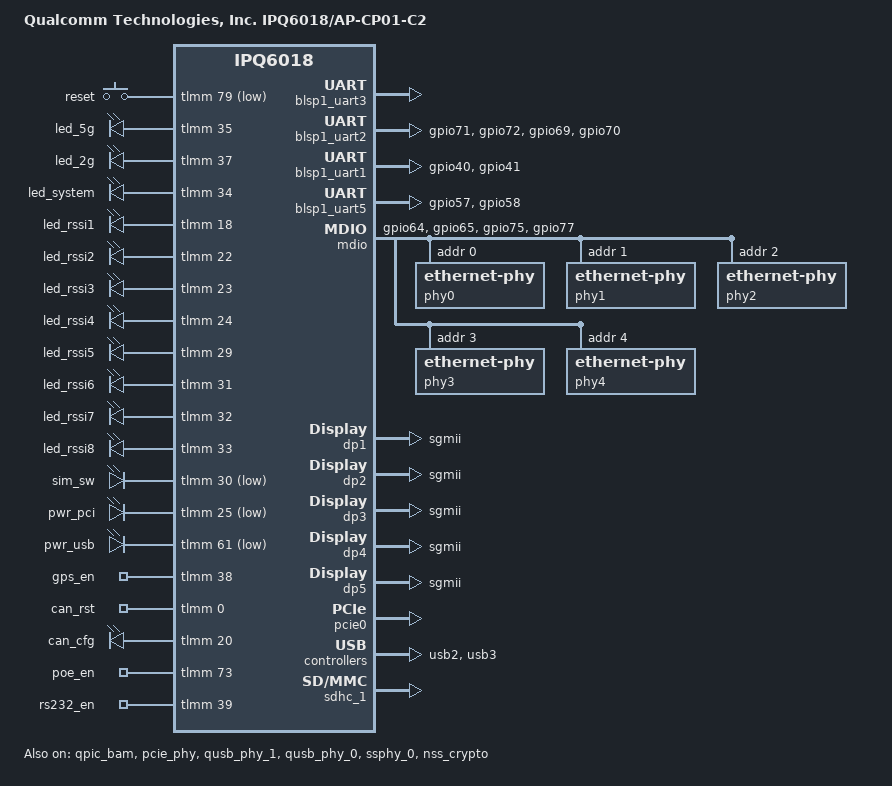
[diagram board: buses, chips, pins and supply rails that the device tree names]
// SPDX-License-Identifier: (GPL-2.0+ OR BSD-3-Clause)
/*
 * IPQ6018 CP01 board device tree source
 *
 * Copyright (c) 2019-2021 The Linux Foundation. All rights reserved.
 */

/dts-v1/;
#include "ipq6018.dtsi"
#include "ipq6018-cpr-regulator.dtsi"

/ {
	model = "Qualcomm Technologies, Inc. IPQ6018/AP-CP01-C2";
	compatible = "qcom,ipq6018-ap-cp01-c2",  "qcom,ipq6018";

	aliases {
		serial0 = &blsp1_uart3;
		serial1 = &blsp1_uart1;  // 恢复uart1
		serial2 = &blsp1_uart2;
		serial3 = &blsp1_uart5;  // 恢复uart5
		sdhc1 = &sdhc_1;
		/*
		 * Aliases as required by u-boot
		 * to patch MAC addresses
		 */
		ethernet0 = "/soc/dp1";
		ethernet1 = "/soc/dp2";
		ethernet2 = "/soc/dp3";
		ethernet3 = "/soc/dp4";
		ethernet4 = "/soc/dp5";
	};

	chosen {
		stdout-path = "serial0:115200n8";
		bootargs-append = " swiotlb=1";
	};
};


&blsp1_uart3 {
	pinctrl-0 = <&serial_3_pins>;
	pinctrl-names = "default";
	status = "ok";
};

&blsp1_uart2 {
	pinctrl-0 = <&hsuart_pins>;
	pinctrl-names = "default";
	qca,bt-rfr-fixup;
	dmas = <&blsp_dma 2>,
		<&blsp_dma 3>;
	dma-names = "tx", "rx";
	status = "ok";
};

// 添加缺失的串口设备配置
&blsp1_uart1 {
    pinctrl-0 = <&uart0_pins>;
    pinctrl-names = "default";
    status = "ok";
};

&blsp1_uart5 {
    pinctrl-0 = <&uart2_pins>;
    pinctrl-names = "default";
    status = "ok";
};


&tlmm {
	mdio_pins: mdio_pinmux {
		mux_0 {
			pins = "gpio64";
			function = "mdc";
			drive-strength = <8>;
			bias-pull-up;
		};
		mux_1 {
			pins = "gpio65";
			function = "mdio";
			drive-strength = <8>;
			bias-pull-up;
		};
		mux_2 {
			pins = "gpio75";
			function = "gpio";
			bias-pull-up;
		};
		mux_3 {
			pins = "gpio77";
			function = "gpio";
			bias-pull-up;
		};
	};

	hsuart_pins: hsuart_pins {
		mux {
			pins = "gpio71", "gpio72", "gpio69", "gpio70";
			function = "blsp1_uart";
			drive-strength = <8>;
			bias-disable;
		};
	};
	
	// 添加对应的pin配置
    uart0_pins: uart0_pins {
        mux {
            pins = "gpio40", "gpio41";
            function = "blsp0_uart";
            drive-strength = <8>;
            bias-pull-down;
        };
    };

    uart2_pins: uart2_pins {
        mux {
            pins = "gpio57", "gpio58"; 
            function = "blsp4_uart";
            drive-strength = <8>;
            bias-pull-down;
        };
    };
		
	button_pins: button_pins {
		reset_button {
			pins = "gpio79";
			function = "gpio";
			drive-strength = <8>;
			bias-pull-up;
		};
	};

   /*
	* do1_hog {
    *    gpio-hog; 
    *    gpios = <33 GPIO_ACTIVE_HIGH>; 
    *    output-high;
    *    line-name = "do1";
    * };

    * din1_hog {
    *    gpio-hog;
    *    gpios = <30 GPIO_ACTIVE_HIGH>;
    *    input; 
    *    bias-pull-up; 
    *    line-name = "din1";
    * };
	*/
	
	leds_pins: leds_pins {
		led_5g {
			pins = "gpio35";
			function = "gpio";
			drive-strength = <8>;
			bias-pull-down;
		};
		led_2g {
			pins = "gpio37";
			function = "gpio";
			drive-strength = <8>;
			bias-pull-down;
		};
		led_system {
			pins = "gpio34";
			function = "gpio";
			drive-strength = <8>;
			bias-pull-down;
		};
		led_rssi1 {
			pins = "gpio18";
			function = "gpio";
			drive-strength = <8>;
			bias-pull-down;
		};
		led_rssi2 {
			pins = "gpio22";
			function = "gpio";
			drive-strength = <8>;
			bias-pull-down;
		};
		led_rssi3 {
			pins = "gpio23";
			function = "gpio";
			drive-strength = <8>;
			bias-pull-down;
		};
		led_rssi4 {
			pins = "gpio24";
			function = "gpio";
			drive-strength = <8>;
			bias-pull-down;
		};	
		led_rssi5 {
			pins = "gpio29";
			function = "gpio";
			drive-strength = <8>;
			bias-pull-down;
		};
		led_rssi6 {
			pins = "gpio31";
			function = "gpio";
			drive-strength = <8>;
			bias-pull-down;
		};
		led_rssi7 {
			pins = "gpio32";
			function = "gpio";
			drive-strength = <8>;
			bias-pull-down;
		};
		led_rssi8 {
			pins = "gpio33";
			function = "gpio";
			drive-strength = <8>;
			bias-pull-down;
		};
		m_gpio {
			pins = "gpio0","gpio20","gpio25","gpio30","gpio38","gpio39","gpio61","gpio73";
			function = "gpio";
			drive-strength = <4>;
			bias-pull-down;
		};
	};

};

&soc {
	mdio: mdio@90000 {
		pinctrl-0 = <&mdio_pins>;
		pinctrl-names = "default";
		phy-reset-gpio = <&tlmm 75 0 &tlmm 77 0>;
		status = "ok";
		phy0: ethernet-phy@0 {
			reg = <0>;
		};
		phy1: ethernet-phy@1 {
			reg = <1>;
		};
		phy2: ethernet-phy@2 {
			reg = <2>;
		};
		phy3: ethernet-phy@3 {
			reg = <3>;
		};
		phy4: ethernet-phy@4 {
			reg = <4>;
		};
	};

	dp1 {
		device_type = "network";
		compatible = "qcom,nss-dp";
		qcom,id = <1>;
		reg = <0x3a001000 0x200>;
		qcom,mactype = <0>;
		local-mac-address = [000000000000];
		qcom,link-poll = <1>;
		qcom,phy-mdio-addr = <0>;
		phy-mode = "sgmii";
	};

	dp2 {
		device_type = "network";
		compatible = "qcom,nss-dp";
		qcom,id = <2>;
		reg = <0x3a001200 0x200>;
		qcom,mactype = <0>;
		local-mac-address = [000000000000];
		qcom,link-poll = <1>;
		qcom,phy-mdio-addr = <1>;
		phy-mode = "sgmii";
	};

	dp3 {
		device_type = "network";
		compatible = "qcom,nss-dp";
		qcom,id = <3>;
		reg = <0x3a001400 0x200>;
		qcom,mactype = <0>;
		local-mac-address = [000000000000];
		qcom,link-poll = <1>;
		qcom,phy-mdio-addr = <2>;
		phy-mode = "sgmii";
	};

	dp4 {
		device_type = "network";
		compatible = "qcom,nss-dp";
		qcom,id = <4>;
		reg = <0x3a001600 0x200>;
		qcom,mactype = <0>;
		local-mac-address = [000000000000];
		qcom,link-poll = <1>;
		qcom,phy-mdio-addr = <3>;
		phy-mode = "sgmii";
	};
	
	dp5 {
		device_type = "network";
		compatible = "qcom,nss-dp";
		qcom,id = <5>;
		reg = <0x3a001800 0x200>;
		qcom,mactype = <0>;
		local-mac-address = [000000000000];
		qcom,link-poll = <1>;
		qcom,phy-mdio-addr = <4>;
		phy-mode = "sgmii";
	};
	
	ess-switch@3a000000 {
		switch_cpu_bmp = <0x1>;  /* cpu port bitmap */
		switch_lan_bmp = <0x1e>; /* lan port bitmap */
		switch_wan_bmp = <0x20>; /* wan port bitmap */
		switch_inner_bmp = <0xc0>; /*inner port bitmap*/
		switch_mac_mode = <0x0>; /* mac mode for uniphy instance0*/
		switch_mac_mode1 = <0xff>; /* mac mode for uniphy instance1*/
		switch_mac_mode2 = <0xff>; /* mac mode for uniphy instance2*/
		qcom,port_phyinfo {
			port@0 {
				port_id = <1>;
				phy_address = <0>;
			};
			port@1 {
				port_id = <2>;
				phy_address = <1>;
			};
			port@2 {
				port_id = <3>;
				phy_address = <2>;
			};
			port@3 {
				port_id = <4>;
				phy_address = <3>;
			};
			port@4 {
				port_id = <5>;
				phy_address = <4>;
			};
		};
	};
	
 	gpio_keys {
		compatible = "gpio-keys";
		pinctrl-0 = <&button_pins>;
		pinctrl-names = "default";

		reset {
			label = "reset";
			linux,code = <KEY_RESTART>;
			gpios = <&tlmm 79 GPIO_ACTIVE_LOW>;
			linux,input-type = <1>;
			debounce-interval = <60>;
		};
	}; 

	leds {
		compatible = "gpio-leds";
		pinctrl-0 = <&leds_pins>;
		pinctrl-names = "default";

		led@35 {
			label = "led_5g";
			gpios = <&tlmm 35 GPIO_ACTIVE_HIGH>;
			linux,default-trigger = "led_5g";
			default-state = "off";
		};
		led@37 {
			label = "led_2g";
			gpios = <&tlmm 37 GPIO_ACTIVE_HIGH>;
			linux,default-trigger = "led_2g";
			default-state = "off";
		};
		led@34 {
			label = "led_system";
			gpios = <&tlmm 34 GPIO_ACTIVE_HIGH>;
			linux,default-trigger = "timer";
			default-state = "off";
		};
		led@18 {
			label = "led_rssi1";
			gpios = <&tlmm 18 GPIO_ACTIVE_HIGH>;
			linux,default-trigger = "rssi1";
			default-state = "off";
		};
		led@22 {
			label = "led_rssi2";
			gpios = <&tlmm 22 GPIO_ACTIVE_HIGH>;
			linux,default-trigger = "rssi2";
			default-state = "off";
		};
		led@23 {
			label = "led_rssi3";
			gpios = <&tlmm 23 GPIO_ACTIVE_HIGH>;
			linux,default-trigger = "rssi3";
			default-state = "off";
		};
		led@24 {
			label = "led_rssi4";
			gpios = <&tlmm 24 GPIO_ACTIVE_HIGH>;
			linux,default-trigger = "rssi4";
			default-state = "off";
		};
		led@29 {
			label = "led_rssi5";
			gpios = <&tlmm 29 GPIO_ACTIVE_HIGH>;
			linux,default-trigger = "rssi5";
			default-state = "off";
		};
		led@31 {
			label = "led_rssi6";
			gpios = <&tlmm 31 GPIO_ACTIVE_HIGH>;
			linux,default-trigger = "rssi6";
			default-state = "off";
		};
		led@32 {
			label = "led_rssi7";
			gpios = <&tlmm 32 GPIO_ACTIVE_HIGH>;
			linux,default-trigger = "rssi7";
			default-state = "off";
		};
		led@33 {
			label = "led_rssi8";
			gpios = <&tlmm 33 GPIO_ACTIVE_HIGH>;
			linux,default-trigger = "rssi8";
			default-state = "off";
		};
		led@30 {
			label = "sim_sw";
			gpios = <&tlmm 30 GPIO_ACTIVE_LOW>;
			linux,default-trigger = "sim_sw";
			default-state = "on";
		};

		led@25 {
			label = "pwr_pci";
			gpios = <&tlmm 25 GPIO_ACTIVE_LOW>;
			linux,default-trigger = "pwr_pci";
			default-state = "on";
		};
		led@61 {
			label = "pwr_usb";
			gpios = <&tlmm 61 GPIO_ACTIVE_LOW>;
			linux,default-trigger = "pwr_usb";
			default-state = "on";
		};
		led@38 {
			label = "gps_en";
			gpios = <&tlmm 38 GPIO_ACTIVE_HIGH>;
			linux,default-trigger = "gps_en";
			default-state = "off";
		};
		led@0 {
			label = "can_rst";
			gpios = <&tlmm 0 GPIO_ACTIVE_HIGH>;
			linux,default-trigger = "can_rst";
			default-state = "off";
		};
		led@20 {
			label = "can_cfg";
			gpios = <&tlmm 20 GPIO_ACTIVE_HIGH>;
			linux,default-trigger = "can_cfg";
			default-state = "off";
		};
		led@73 {
			label = "poe_en";
			gpios = <&tlmm 73 GPIO_ACTIVE_HIGH>;
			linux,default-trigger = "poe_en";
			default-state = "off";
		};
		led@39 {
			label = "rs232_en";
			gpios = <&tlmm 39 GPIO_ACTIVE_HIGH>;
			linux,default-trigger = "rs232_en";
			default-state = "on";
		};
	};
};

&qpic_bam {
	status = "ok";
};

&pcie_phy {
	status = "ok";
};

&pcie0 {
	status = "ok";
};

&qusb_phy_1 {
	status = "ok";
};

&usb2 {
	status = "ok";
};

&qusb_phy_0 {
	status = "ok";
};

&ssphy_0 {
	status = "ok";
};

&usb3 {
	status = "ok";
};

&nss_crypto {
	status = "ok";
};

&sdhc_1 {
	status = "ok";
};
